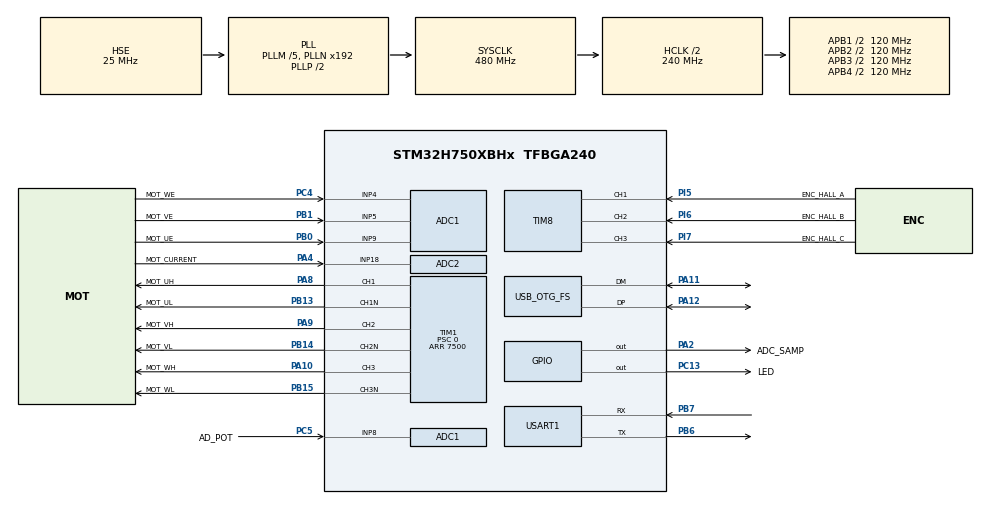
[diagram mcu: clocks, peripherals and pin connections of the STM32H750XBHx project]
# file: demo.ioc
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ADC1.Channel-2\#ChannelRegularConversion=ADC_CHANNEL_9
ADC1.Channel-3\#ChannelRegularConversion=ADC_CHANNEL_5
ADC1.Channel-4\#ChannelRegularConversion=ADC_CHANNEL_4
ADC1.Channel-5\#ChannelRegularConversion=ADC_CHANNEL_8
ADC1.ContinuousConvMode=ENABLE
ADC1.ConversionDataManagement=ADC_CONVERSIONDATA_DMA_CIRCULAR
ADC1.ExternalTrigConv=ADC_SOFTWARE_START
ADC1.NbrOfConversion=4
ADC1.NbrOfConversionFlag=1
ADC1.OffsetNumber-2\#ChannelRegularConversion=ADC_OFFSET_NONE
ADC1.OffsetNumber-3\#ChannelRegularConversion=ADC_OFFSET_NONE
ADC1.OffsetNumber-4\#ChannelRegularConversion=ADC_OFFSET_NONE
ADC1.OffsetNumber-5\#ChannelRegularConversion=ADC_OFFSET_NONE
ADC1.OffsetSignedSaturation-2\#ChannelRegularConversion=DISABLE
ADC1.OffsetSignedSaturation-3\#ChannelRegularConversion=DISABLE
ADC1.OffsetSignedSaturation-4\#ChannelRegularConversion=DISABLE
ADC1.OffsetSignedSaturation-5\#ChannelRegularConversion=DISABLE
ADC1.Overrun=ADC_OVR_DATA_OVERWRITTEN
ADC1.Rank-2\#ChannelRegularConversion=1
ADC1.Rank-3\#ChannelRegularConversion=2
ADC1.Rank-4\#ChannelRegularConversion=3
ADC1.Rank-5\#ChannelRegularConversion=4
ADC1.SamplingTime-2\#ChannelRegularConversion=ADC_SAMPLETIME_810CYCLES_5
ADC1.SamplingTime-3\#ChannelRegularConversion=ADC_SAMPLETIME_810CYCLES_5
ADC1.SamplingTime-4\#ChannelRegularConversion=ADC_SAMPLETIME_810CYCLES_5
ADC1.SamplingTime-5\#ChannelRegularConversion=ADC_SAMPLETIME_810CYCLES_5
ADC1.master=1
ADC2.Channel-7\#ChannelRegularConversion=ADC_CHANNEL_18
ADC2.Channel-8\#ChannelRegularConversion=ADC_CHANNEL_18
ADC2.ContinuousConvMode=DISABLE
ADC2.ConversionDataManagement=ADC_CONVERSIONDATA_DMA_CIRCULAR
ADC2.DiscontinuousConvMode=DISABLE
ADC2.EnableInjectedConversion=DISABLE
ADC2.EnableRegularConversion=ENABLE
ADC2.ExternalTrigConv=ADC_EXTERNALTRIG_T1_TRGO
ADC2.ExternalTrigConvEdge=ADC_EXTERNALTRIGCONVEDGE_FALLING
ADC2.NbrOfConversion=2
ADC2.NbrOfConversionFlag=1
ADC2.OffsetNumber-7\#ChannelRegularConversion=ADC_OFFSET_NONE
ADC2.OffsetNumber-8\#ChannelRegularConversion=ADC_OFFSET_NONE
ADC2.OffsetSignedSaturation-7\#ChannelRegularConversion=DISABLE
ADC2.OffsetSignedSaturation-8\#ChannelRegularConversion=DISABLE
ADC2.Overrun=ADC_OVR_DATA_OVERWRITTEN
ADC2.Rank-7\#ChannelRegularConversion=1
ADC2.Rank-8\#ChannelRegularConversion=2
ADC2.Resolution=ADC_RESOLUTION_16B
ADC2.SamplingTime-7\#ChannelRegularConversion=ADC_SAMPLETIME_1CYCLE_5
ADC2.SamplingTime-8\#ChannelRegularConversion=ADC_SAMPLETIME_1CYCLE_5
CORTEX_M7.AccessPermission_Spec=MPU_REGION_FULL_ACCESS
CORTEX_M7.CPU_DCache=Enabled
CORTEX_M7.CPU_ICache=Enabled
CORTEX_M7.DisableExec_Spec=MPU_INSTRUCTION_ACCESS_ENABLE
CORTEX_M7.default_mode_Activation=1
Dma.ADC1.0.Direction=DMA_PERIPH_TO_MEMORY
Dma.ADC1.0.EventEnable=DISABLE
Dma.ADC1.0.FIFOMode=DMA_FIFOMODE_DISABLE
Dma.ADC1.0.Instance=DMA1_Stream0
Dma.ADC1.0.MemDataAlignment=DMA_MDATAALIGN_HALFWORD
Dma.ADC1.0.MemInc=DMA_MINC_ENABLE
Dma.ADC1.0.Mode=DMA_CIRCULAR
Dma.ADC1.0.PeriphDataAlignment=DMA_PDATAALIGN_HALFWORD
Dma.ADC1.0.PeriphInc=DMA_PINC_DISABLE
Dma.ADC1.0.Polarity=HAL_DMAMUX_REQ_GEN_RISING
Dma.ADC1.0.Priority=DMA_PRIORITY_LOW
Dma.ADC1.0.RequestNumber=1
Dma.ADC1.0.SignalID=NONE
Dma.ADC1.0.SyncEnable=DISABLE
Dma.ADC1.0.SyncPolarity=HAL_DMAMUX_SYNC_NO_EVENT
Dma.ADC1.0.SyncRequestNumber=1
Dma.ADC1.0.SyncSignalID=NONE
Dma.ADC2.3.Direction=DMA_PERIPH_TO_MEMORY
Dma.ADC2.3.EventEnable=DISABLE
Dma.ADC2.3.FIFOMode=DMA_FIFOMODE_DISABLE
Dma.ADC2.3.Instance=DMA1_Stream1
Dma.ADC2.3.MemDataAlignment=DMA_MDATAALIGN_HALFWORD
Dma.ADC2.3.MemInc=DMA_MINC_ENABLE
Dma.ADC2.3.Mode=DMA_CIRCULAR
Dma.ADC2.3.PeriphDataAlignment=DMA_PDATAALIGN_HALFWORD
Dma.ADC2.3.PeriphInc=DMA_PINC_DISABLE
Dma.ADC2.3.Polarity=HAL_DMAMUX_REQ_GEN_RISING
Dma.ADC2.3.Priority=DMA_PRIORITY_LOW
Dma.ADC2.3.RequestNumber=1
Dma.ADC2.3.SignalID=NONE
Dma.ADC2.3.SyncEnable=DISABLE
Dma.ADC2.3.SyncPolarity=HAL_DMAMUX_SYNC_NO_EVENT
Dma.ADC2.3.SyncRequestNumber=1
Dma.ADC2.3.SyncSignalID=NONE
Dma.Request0=ADC1
Dma.Request1=USART1_RX
Dma.Request2=USART1_TX
Dma.Request3=ADC2
Dma.USART1_RX.1.Direction=DMA_PERIPH_TO_MEMORY
Dma.USART1_RX.1.EventEnable=DISABLE
Dma.USART1_RX.1.FIFOMode=DMA_FIFOMODE_DISABLE
Dma.USART1_RX.1.Instance=DMA1_Stream2
Dma.USART1_RX.1.MemDataAlignment=DMA_MDATAALIGN_BYTE
Dma.USART1_RX.1.MemInc=DMA_MINC_ENABLE
Dma.USART1_RX.1.Mode=DMA_NORMAL
Dma.USART1_RX.1.PeriphDataAlignment=DMA_PDATAALIGN_BYTE
Dma.USART1_RX.1.PeriphInc=DMA_PINC_DISABLE
Dma.USART1_RX.1.Polarity=HAL_DMAMUX_REQ_GEN_RISING
Dma.USART1_RX.1.Priority=DMA_PRIORITY_LOW
Dma.USART1_RX.1.RequestNumber=1
Dma.USART1_RX.1.SignalID=NONE
Dma.USART1_RX.1.SyncEnable=DISABLE
Dma.USART1_RX.1.SyncPolarity=HAL_DMAMUX_SYNC_NO_EVENT
Dma.USART1_RX.1.SyncRequestNumber=1
Dma.USART1_RX.1.SyncSignalID=NONE
Dma.USART1_TX.2.Direction=DMA_MEMORY_TO_PERIPH
Dma.USART1_TX.2.EventEnable=DISABLE
Dma.USART1_TX.2.FIFOMode=DMA_FIFOMODE_DISABLE
Dma.USART1_TX.2.Instance=DMA1_Stream3
Dma.USART1_TX.2.MemDataAlignment=DMA_MDATAALIGN_BYTE
Dma.USART1_TX.2.MemInc=DMA_MINC_ENABLE
Dma.USART1_TX.2.Mode=DMA_NORMAL
Dma.USART1_TX.2.PeriphDataAlignment=DMA_PDATAALIGN_BYTE
Dma.USART1_TX.2.PeriphInc=DMA_PINC_DISABLE
Dma.USART1_TX.2.Polarity=HAL_DMAMUX_REQ_GEN_RISING
Dma.USART1_TX.2.Priority=DMA_PRIORITY_LOW
Dma.USART1_TX.2.RequestNumber=1
Dma.USART1_TX.2.SignalID=NONE
Dma.USART1_TX.2.SyncEnable=DISABLE
Dma.USART1_TX.2.SyncPolarity=HAL_DMAMUX_SYNC_NO_EVENT
Dma.USART1_TX.2.SyncRequestNumber=1
Dma.USART1_TX.2.SyncSignalID=NONE
Mcu.Family=STM32H7
Mcu.Name=STM32H750XBHx
Mcu.Package=TFBGA240
Mcu.UserConstants=TIM_HALL,&htim8
NVIC.ADC_IRQn=true\:0\:0\:false\:false\:true\:true\:true\:true
NVIC.DMA1_Stream0_IRQn=true\:0\:0\:false\:false\:true\:false\:true\:true
NVIC.DMA1_Stream1_IRQn=true\:0\:0\:false\:false\:true\:false\:true\:true
NVIC.DMA1_Stream2_IRQn=true\:0\:0\:false\:false\:true\:false\:true\:true
NVIC.DMA1_Stream3_IRQn=true\:0\:0\:false\:false\:true\:false\:true\:true
NVIC.OTG_FS_IRQn=true\:0\:0\:false\:false\:true\:false\:true\:true
NVIC.PriorityGroup=NVIC_PRIORITYGROUP_4
NVIC.TIM1_UP_IRQn=true\:0\:0\:false\:false\:true\:true\:true\:true
NVIC.TIM8_UP_TIM13_IRQn=true\:0\:0\:false\:false\:true\:true\:true\:true
NVIC.USART1_IRQn=true\:0\:0\:false\:false\:true\:true\:true\:true
PA10.GPIO_Label=MOT_WH
PA10.GPIO_PuPd=GPIO_PULLUP
PA10.GPIO_Speed=GPIO_SPEED_FREQ_VERY_HIGH
PA10.Signal=S_TIM1_CH3
PA11.Mode=Device_Only
PA11.Signal=USB_OTG_FS_DM
PA12.Mode=Device_Only
PA12.Signal=USB_OTG_FS_DP
PA13\ (JTMS/SWDIO).Mode=Serial_Wire
PA13\ (JTMS/SWDIO).Signal=DEBUG_JTMS-SWDIO
PA14\ (JTCK/SWCLK).Mode=Serial_Wire
PA14\ (JTCK/SWCLK).Signal=DEBUG_JTCK-SWCLK
PA2.GPIO_Label=ADC_SAMP
PA2.GPIO_PuPd=GPIO_PULLUP
PA2.GPIO_Speed=GPIO_SPEED_FREQ_VERY_HIGH
PA2.Signal=GPIO_Output
PA4.GPIO_Label=MOT_CURRENT
PA4.Signal=ADCx_INP18
PA8.GPIO_Label=MOT_UH
PA8.GPIO_PuPd=GPIO_PULLUP
PA8.GPIO_Speed=GPIO_SPEED_FREQ_VERY_HIGH
PA8.Signal=S_TIM1_CH1
PA9.GPIO_Label=MOT_VH
PA9.GPIO_PuPd=GPIO_PULLUP
PA9.GPIO_Speed=GPIO_SPEED_FREQ_VERY_HIGH
PA9.Signal=S_TIM1_CH2
PB0.GPIO_Label=MOT_UE
PB0.Signal=ADCx_INP9
PB1.GPIO_Label=MOT_VE
PB1.Signal=ADCx_INP5
PB13.GPIO_Label=MOT_UL
PB13.GPIO_PuPd=GPIO_PULLUP
PB13.GPIO_Speed=GPIO_SPEED_FREQ_VERY_HIGH
PB13.Mode=PWM Generation1 CH1 CH1N
PB13.Signal=TIM1_CH1N
PB14.GPIO_Label=MOT_VL
PB14.GPIO_PuPd=GPIO_PULLUP
PB14.GPIO_Speed=GPIO_SPEED_FREQ_VERY_HIGH
PB14.Mode=PWM Generation2 CH2 CH2N
PB14.Signal=TIM1_CH2N
PB15.GPIO_Label=MOT_WL
PB15.GPIO_PuPd=GPIO_PULLUP
PB15.GPIO_Speed=GPIO_SPEED_FREQ_VERY_HIGH
PB15.Mode=PWM Generation3 CH3 CH3N
PB15.Signal=TIM1_CH3N
PB6.Mode=Asynchronous
PB6.Signal=USART1_TX
PB7.Mode=Asynchronous
PB7.Signal=USART1_RX
PC13.GPIO_Label=LED
PC13.GPIO_PuPd=GPIO_PULLUP
PC13.PinState=GPIO_PIN_SET
PC13.Signal=GPIO_Output
PC4.GPIO_Label=MOT_WE
PC4.Signal=ADCx_INP4
PC5.GPIO_Label=AD_POT
PC5.Signal=ADCx_INP8
PH0-OSC_IN\ (PH0).Mode=HSE-External-Oscillator
PH0-OSC_IN\ (PH0).Signal=RCC_OSC_IN
PH1-OSC_OUT\ (PH1).Mode=HSE-External-Oscillator
PH1-OSC_OUT\ (PH1).Signal=RCC_OSC_OUT
PI5.GPIO_Label=ENC_HALL_A
PI5.GPIO_ModeDefaultPP=GPIO_MODE_AF_OD
PI5.GPIO_PuPd=GPIO_PULLUP
PI5.GPIO_Speed=GPIO_SPEED_FREQ_VERY_HIGH
PI5.Signal=S_TIM8_CH1
PI6.GPIO_Label=ENC_HALL_B
PI6.GPIO_ModeDefaultPP=GPIO_MODE_AF_OD
PI6.GPIO_PuPd=GPIO_PULLUP
PI6.GPIO_Speed=GPIO_SPEED_FREQ_VERY_HIGH
PI6.Signal=S_TIM8_CH2
PI7.GPIO_Label=ENC_HALL_C
PI7.GPIO_ModeDefaultPP=GPIO_MODE_AF_OD
PI7.GPIO_PuPd=GPIO_PULLUP
PI7.GPIO_Speed=GPIO_SPEED_FREQ_VERY_HIGH
PI7.Signal=S_TIM8_CH3
ProjectManager.HeapSize=0x200
ProjectManager.StackSize=0x400
ProjectManager.TargetToolchain=MDK-ARM V5.32
RCC.ADCFreq_Value=100000000
RCC.APB1Freq_Value=120000000
RCC.APB2Freq_Value=120000000
RCC.APB3Freq_Value=120000000
RCC.APB4Freq_Value=120000000
RCC.CortexFreq_Value=480000000
RCC.D1PPRE=RCC_APB3_DIV2
RCC.D2PPRE1=RCC_APB1_DIV2
RCC.D2PPRE2=RCC_APB2_DIV2
RCC.D3PPRE=RCC_APB4_DIV2
RCC.DIVM1=5
RCC.DIVM2=20
RCC.DIVN1=192
RCC.DIVN2=160
RCC.DIVQ1=20
RCC.HCLKFreq_Value=240000000
RCC.HPRE=RCC_HCLK_DIV2
RCC.PLL2FRACN=0
RCC.PLL3FRACN=0
RCC.PLLFRACN=0
RCC.PLLSourceVirtual=RCC_PLLSOURCE_HSE
RCC.PWR_Regulator_Voltage_Scale=PWR_REGULATOR_VOLTAGE_SCALE0
RCC.SYSCLKFreq_VALUE=480000000
RCC.SYSCLKSource=RCC_SYSCLKSOURCE_PLLCLK
RCC.USBFreq_Value=48000000
SH.ADCx_INP18.0=ADC2_INP18,IN18-Single-Ended
SH.ADCx_INP4.0=ADC1_INP4,IN4-Single-Ended
SH.ADCx_INP5.0=ADC1_INP5,IN5-Single-Ended
SH.ADCx_INP8.0=ADC1_INP8,IN8-Single-Ended
SH.ADCx_INP9.0=ADC1_INP9,IN9-Single-Ended
SH.S_TIM1_CH1.0=TIM1_CH1,PWM Generation1 CH1 CH1N
SH.S_TIM1_CH2.0=TIM1_CH2,PWM Generation2 CH2 CH2N
SH.S_TIM1_CH3.0=TIM1_CH3,PWM Generation3 CH3 CH3N
SH.S_TIM8_CH1.0=TIM8_CH1,Xored_Inputs_Hall_Sensor_Interface
SH.S_TIM8_CH2.0=TIM8_CH2,Xored_Inputs_Hall_Sensor_Interface
SH.S_TIM8_CH3.0=TIM8_CH3,Xored_Inputs_Hall_Sensor_Interface
TIM1.AutoReloadPreload=TIM_AUTORELOAD_PRELOAD_ENABLE
TIM1.AutomaticOutput=TIM_AUTOMATICOUTPUT_ENABLE
TIM1.Channel-PWM\ Generation1\ CH1\ CH1N=TIM_CHANNEL_1
TIM1.Channel-PWM\ Generation2\ CH2\ CH2N=TIM_CHANNEL_2
TIM1.Channel-PWM\ Generation3\ CH3\ CH3N=TIM_CHANNEL_3
TIM1.Channel-PWM\ Generation4\ No\ Output=TIM_CHANNEL_4
TIM1.CounterMode=TIM_COUNTERMODE_CENTERALIGNED1
TIM1.DeadTime=3
TIM1.OC1Preload_PWM=ENABLE
TIM1.OC2Preload_PWM=ENABLE
TIM1.OC3Preload_PWM=ENABLE
TIM1.OC4Preload_PWM=ENABLE
TIM1.OCFastMode_PWM-PWM\ Generation1\ CH1\ CH1N=TIM_OCFAST_ENABLE
TIM1.OCFastMode_PWM-PWM\ Generation2\ CH2\ CH2N=TIM_OCFAST_ENABLE
TIM1.OCFastMode_PWM-PWM\ Generation3\ CH3\ CH3N=TIM_OCFAST_ENABLE
TIM1.OCNIdleState_1=TIM_OCNIDLESTATE_SET
TIM1.OCNIdleState_2=TIM_OCNIDLESTATE_SET
TIM1.OCNIdleState_3=TIM_OCNIDLESTATE_SET
TIM1.OCNPolarity_1=TIM_OCNPOLARITY_LOW
TIM1.OCNPolarity_2=TIM_OCNPOLARITY_LOW
TIM1.OCNPolarity_3=TIM_OCNPOLARITY_LOW
TIM1.OffStateIDLEMode=TIM_OSSI_ENABLE
TIM1.OffStateRunMode=TIM_OSSR_ENABLE
TIM1.Period=7500
TIM1.Prescaler=0
TIM1.Pulse-PWM\ Generation1\ CH1\ CH1N=0
TIM1.Pulse-PWM\ Generation2\ CH2\ CH2N=0
TIM1.Pulse-PWM\ Generation3\ CH3\ CH3N=0
TIM1.TIM_MasterOutputTrigger=TIM_TRGO_OC4REF
TIM1.TIM_MasterOutputTrigger2=TIM_TRGO2_RESET
TIM1.TIM_MasterSlaveMode=TIM_MASTERSLAVEMODE_DISABLE
TIM6.AutoReloadPreload=TIM_AUTORELOAD_PRELOAD_ENABLE
TIM6.Period=125-1
TIM6.Prescaler=120-1
TIM8.AutoReloadPreload=TIM_AUTORELOAD_PRELOAD_ENABLE
TIM8.IC1Filter=5
TIM8.TIM_MasterOutputTrigger2=TIM_TRGO2_UPDATE
USART1.VirtualMode-Asynchronous=VM_ASYNC
USB_DEVICE.CLASS_NAME_FS=CDC
USB_DEVICE.VirtualMode-CDC_FS=Cdc
USB_DEVICE.VirtualModeFS=Cdc_FS
USB_OTG_FS.VirtualMode=Device_Only
VP_TIM1_VS_no_output4.Mode=PWM Generation4 No Output
VP_TIM6_VS_ClockSourceINT.Mode=Enable_Timer
VP_USB_DEVICE_VS_USB_DEVICE_CDC_FS.Mode=CDC_FS
board=custom

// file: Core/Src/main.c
/* USER CODE BEGIN Header */
/**
 ******************************************************************************
 * @file           : main.c
 * @brief          : Main program body
 ******************************************************************************
 * @attention
 *
 * Copyright (c) 2023 STMicroelectronics.
 * All rights reserved.
 *
 * This software is licensed under terms that can be found in the LICENSE file
 * in the root directory of this software component.
 * If no LICENSE file comes with this software, it is provided AS-IS.
 *
 ******************************************************************************
 */
/* USER CODE END Header */
#include "main.h"
#include "adc.h"
#include "dma.h"
#include "tim.h"
#include "usart.h"
#include "usb_device.h"
#include "gpio.h"

/* USER CODE BEGIN Includes */
#include "usbd_cdc_if.h"

#include "bsp.h"

#include "motdrv/enc/hall.h"
#include "motdrv/foc/motdrv.h"

#include "mb.h"
#include "mbport.h"

/* USER CODE END Includes */

void        SystemClock_Config(void);
void        PeriphCommonClock_Config(void);
static void MPU_Config(void);
/* USER CODE BEGIN PFP */
void        SpeedCalc(void);

/* USER CODE END PFP */

/* USER CODE BEGIN 0 */

#define HVBUS_COEFF   (40.2157f)  // 单位 V, 计算公式 (5.1k+200k) / (5.1k)
#define CURRENT_COEFF (2.32558f)  // 单位 A, 放大倍数 A = (33K/10K+1), 采样电阻 Rshunt = 100mR, 计算公式 1/4.3/0.1

extern void Modbus_StartReceive(void);

ALIGN_32BYTES(uint16_t ADC1_Conv[4]);
ALIGN_32BYTES(uint16_t ADC2_Conv[2]);

#define AD_MOT_UE    ADC1_Conv[0]
#define AD_MOT_VE    ADC1_Conv[1]
#define AD_MOT_WE    ADC1_Conv[2]

#define AD_MOT_CUR_U ADC2_Conv[0]  // current feedback
#define AD_MOT_CUR_V ADC2_Conv[1]  // current feedback

#define AD_POT       ADC1_Conv[3]

// https://www.zhihu.com/question/600128914
// Speed_ElecAng_Rad =  PolePair * 2 * PI * Speed_ElecAng_RPM / 60

#define I_COEFF    1 / 65535.f * 3300 / 4.3 / 0.1        // mA, 0.1R
#define VBUS_COEFF 1 / 65535.f * 33 / 5.1 * (5.1 + 200)  // 0.1V

void cur_rs2()
{
    ParaTbl.s16CurPhAFb = ADC1_Conv[0];
    ParaTbl.s16CurPhBFb = ADC1_Conv[1];
}

void cur_rs()
{
    SCB_InvalidateDCache_by_Addr((uint32_t*)&ADC2_Conv[0], ARRAY_SIZE(ADC2_Conv));

    uint16_t Iz[2] = {
        ((float32_t)AD_MOT_CUR_U / 65535 * 3300 - 1000) / 4 / 0.1,  // mA
        ((float32_t)AD_MOT_CUR_V / 65535 * 3300 - 1000) / 4 / 0.1,  // mA
    };

    void current_reconstruct(uint16_t Iz[2]);
    current_reconstruct(Iz);  // 电流重构
}

BEMF_Speed_Struct bemf = {
    .u8BEMFPoleNumber               = 2,
    .u16BEMF1msCounter              = 0,
    .u16BEMFSpeed                   = 0,
    .u16BEMFPhaseABMiddlePoint12bit = 0,
    .u8BEMFDirectionFlag            = BEMF_DIR_STANDSTILL,
    .u16BEMFDetectionTime           = 0,
    .bBEMFResultValidFlag           = 0,
    .bBEMFMotorIsRotatingFlag       = 0,
    .u16BEMFComparatorHystersis     = ((BEMF_COMPARATOR_HYSTERESIS * 4) / 5),
    .u16BEMFStandstillThresholdVolt = ((BEMF_STANDSTILL_THRESHOLD_VOLTAGE * 4) / 5),
};

/* USER CODE END 0 */

int main(void)
{

    /* MPU Configuration--------------------------------------------------------*/
    MPU_Config();
    /* Enable the CPU Cache */

    /* Enable I-Cache---------------------------------------------------------*/
    SCB_EnableICache();

    /* Enable D-Cache---------------------------------------------------------*/
    SCB_EnableDCache();

    /* MCU Configuration--------------------------------------------------------*/

    /* Reset of all peripherals, Initializes the Flash interface and the Systick. */
    HAL_Init();

    /* Configure the system clock */
    SystemClock_Config();

    /* Configure the peripherals common clocks */
    PeriphCommonClock_Config();

    /* Initialize all configured peripherals */
    MX_GPIO_Init();
    MX_DMA_Init();
    MX_ADC1_Init();
    MX_ADC2_Init();
    MX_TIM1_Init();
    MX_TIM6_Init();
    MX_TIM8_Init();
    MX_USART1_UART_Init();
    MX_USB_DEVICE_Init();
    /* USER CODE BEGIN 2 */

    DelayInit();

    const uint8_t ucSlaveID[] = {0xAA, 0xBB, 0xCC};
    eMBInit(MB_RTU, 1, 1, 115200, MB_PAR_EVEN);
    eMBSetSlaveID(0x34, true, ucSlaveID, ARRAY_SIZE(ucSlaveID));
    eMBEnable();
    Modbus_StartReceive();

    HAL_ADC_Start_DMA(&hadc1, (uint32_t*)&ADC1_Conv[0], ARRAY_SIZE(ADC1_Conv));
    HAL_ADC_Start_DMA(&hadc2, (uint32_t*)&ADC2_Conv[0], ARRAY_SIZE(ADC2_Conv));

    HallEnc_Init(&HallEnc);
    HAL_TIM_Base_Start_IT(TIM_HALL);

    ParaTbl_Init();

    // DbgTbl.u16Buf[0] = 2;
    // DbgTbl.u16Buf[1] = 3;
    // DbgTbl.u16Buf[2] = 4;
    // DbgTbl.u16Buf[3] = 5;
    // DbgTbl.u16Buf[4] = 6;
    // DbgTbl.u16Buf[5] = 1;

    // ParaTbl.u16FocMode = FOC_MODE_MCU;

    ParaTbl.u16ElecAngSrc = ELEC_ANG_SRC_HALL;  // closeloop
    // ParaTbl.u16ElecAngSrc = ELEC_ANG_SRC_NONE;  // openloop

    ParaTbl.u16PwmDutyMax   = htim1.Init.Period + 1;
    ParaTbl.u16MotPolePairs = 2;
    ParaTbl.u16Umdc         = (int)11.2;
    ParaTbl.u16CarryFreq    = 16000;

    if (ParaTbl.u16ElecAngSrc == ELEC_ANG_SRC_NONE)  // zero inject
    {
        // ParaTbl.s16VqRef       = 32000;
        // ParaTbl.s16VdRef       = 0;
        // ParaTbl.u16ElecAngInc  = 24;
        // ParaTbl.u16WaitTimeInc = 8;

        ParaTbl.s16VqRef       = 8000;
        ParaTbl.s16VdRef       = 0;
        ParaTbl.u16ElecAngInc  = 4;
        ParaTbl.u16WaitTimeInc = 40;
    }
    else  // svpwm7
    {
        ParaTbl.u16ElecOffset = HALL_ANGLE_30 * 2;
        ParaTbl.s16VqRef      = 16000;
        ParaTbl.s16VdRef      = 0;
    }

    ParaTbl.u16RunState = 1;

    // Hall as Inc
    ParaTbl.u32EncRes    = 6 * ParaTbl.u16MotPolePairs;
    ParaTbl.s16SpdDigRef = 100;

    /* USER CODE END 2 */

    /* Infinite loop */
    /* USER CODE BEGIN WHILE */

    while (1)
    {
        eMBPoll();

        //-------------------------------------------------

        static uint32_t tBlink = 0;

        if (DelayNonBlockMS(tBlink, 500))
        {
            tBlink = DelayNonGetTick();
            LED_TGL();
        }

        //-------------------------------------------------

        static uint32_t tAdTask = 0;

        if (DelayNonBlockMS(tAdTask, 1))
        {
            // extern volatile int n;

            // usb_printf("%d,%d,%d,%d,%d\n", ParaTbl.s16CurPhAFb, ParaTbl.s16CurPhBFb, ParaTbl.s16CurPhCFb, AD_MOT_CUR_U, AD_MOT_CUR_V);
            // usb_printf("%d,%d,%d,%d,%d,%d,%d,%d\n", ParaTbl.s16CurPhAFb, ParaTbl.s16CurPhBFb, ParaTbl.s16CurPhCFb, ParaTbl.s16IdFb, ParaTbl.s16IqFb, HallEnc.HallState, ParaTbl.u16Sector, DbgTbl.u16Buf[0]);

            // usb_printf("%d,%d,%d,%d,%d,%d\n",
            //            (s16)DbgTbl.u16Buf[0],
            //            (s16)DbgTbl.u16Buf[1],
            //            (s16)DbgTbl.u16Buf[2],
            //            (s16)DbgTbl.u16Buf[3],
            //            (s16)DbgTbl.u16Buf[4],
            //            (s16)DbgTbl.u16Buf[5]);

            // https://www.zhihu.com/question/606311981

            BEMF_Speed_Detect(&bemf, AD_MOT_UE >> 4, AD_MOT_VE >> 4);
            // usb_printf("%d,%f,%f\n", bemf.u16BEMFSpeed, AD_MOT_UE / 65535.f * 3.3, AD_MOT_VE / 65535.f * 3.3);

            // 反电动势与磁链关系 https://blog.csdn.net/qq_38190041/article/details/110713520
            // https://blog.csdn.net/qq_38190041/article/details/110848202

            // matlab 反电动势仿真 https://blog.csdn.net/weixin_42362056/article/details/116766351
            // Kt=9.55Ke, 9.55=60/2/pi

            float32_t e = AD_MOT_UE / 65535.f * 3.3;
            usb_printf("%f,%f,%f\n", e, 30 * e / 3.1415926 / ParaTbl.s16SpdFb / ParaTbl.u16MotPolePairs, ParaTbl.u16MotPolePairs * ParaTbl.s16SpdFb * 0.028595 * 2 * 3.14 / 60);
            // e_max = 0.627773, wb = 0.028595

            // usb_printf("%d,%d,%d,%d\n", AD_MOT_UE, AD_MOT_VE, AD_MOT_WE, HallEnc.HallState);

            ParaTbl.s16AiU = AD_POT * 3300 / 65535 + ParaTbl.s16AiBias;

            tAdTask = DelayNonGetTick();
        }

        SCB_InvalidateDCache_by_Addr((uint32_t*)&ADC1_Conv[0], ARRAY_SIZE(ADC1_Conv));

        //-------------------------------------------------

        SpeedCalc();

        static u16 u16RunStatePre = 0;

        if (u16RunStatePre != ParaTbl.u16RunState)
        {
            u16RunStatePre = ParaTbl.u16RunState;
            ParaTbl.u16RunState ? PWM_Start() : PWM_Stop();
        }

        //-------------------------------------------------

        ifoc();

        if (ParaTbl.u16RunState)
        {
            if (ParaTbl.u16ElecAngSrc == ELEC_ANG_SRC_NONE)
            {
                ParaTbl.u16ElecAngRef += ParaTbl.u16ElecAngInc;

                // if (ParaTbl.u16ElecAngRef == 0)
                // {
                //     DbgTbl.u16Buf[0]++;
                // }

                //  usb_printf("%d,%d\n", ParaTbl.u16ElecAngRef, ParaTbl.u16HallAngFb);  // 霍尔偏置 ParaTbl.u16ElecOffset
            }
            else if (ParaTbl.u16ElecAngSrc == ELEC_ANG_SRC_HALL)
            {
                ParaTbl.u16ElecAngRef = ((u32)ParaTbl.u16HallAngFb + (u32)ParaTbl.u16ElecOffset) % UINT16_MAX;
            }

            spdloop();
            curloop();
            ofoc();

            if (ParaTbl.u16ElecAngSrc == ELEC_ANG_SRC_NONE)
            {
                DelayBlockUS(ParaTbl.u16WaitTimeInc);
            }
        }

        /* USER CODE END WHILE */

    }
}

void SystemClock_Config(void)
{
    RCC_OscInitTypeDef RCC_OscInitStruct = {0};
    RCC_ClkInitTypeDef RCC_ClkInitStruct = {0};

    /** Supply configuration update enable
     */
    HAL_PWREx_ConfigSupply(PWR_LDO_SUPPLY);

    /** Configure the main internal regulator output voltage
     */
    __HAL_PWR_VOLTAGESCALING_CONFIG(PWR_REGULATOR_VOLTAGE_SCALE1);

    while (!__HAL_PWR_GET_FLAG(PWR_FLAG_VOSRDY)) {}

    __HAL_RCC_SYSCFG_CLK_ENABLE();
    __HAL_PWR_VOLTAGESCALING_CONFIG(PWR_REGULATOR_VOLTAGE_SCALE0);

    while (!__HAL_PWR_GET_FLAG(PWR_FLAG_VOSRDY)) {}

    /** Initializes the RCC Oscillators according to the specified parameters
     * in the RCC_OscInitTypeDef structure.
     */
    RCC_OscInitStruct.OscillatorType = RCC_OSCILLATORTYPE_HSE;
    RCC_OscInitStruct.HSEState       = RCC_HSE_ON;
    RCC_OscInitStruct.PLL.PLLState   = RCC_PLL_ON;
    RCC_OscInitStruct.PLL.PLLSource  = RCC_PLLSOURCE_HSE;
    RCC_OscInitStruct.PLL.PLLM       = 5;
    RCC_OscInitStruct.PLL.PLLN       = 192;
    RCC_OscInitStruct.PLL.PLLP       = 2;
    RCC_OscInitStruct.PLL.PLLQ       = 20;
    RCC_OscInitStruct.PLL.PLLR       = 2;
    RCC_OscInitStruct.PLL.PLLRGE     = RCC_PLL1VCIRANGE_2;
    RCC_OscInitStruct.PLL.PLLVCOSEL  = RCC_PLL1VCOWIDE;
    RCC_OscInitStruct.PLL.PLLFRACN   = 0;
    if (HAL_RCC_OscConfig(&RCC_OscInitStruct) != HAL_OK)
    {
        Error_Handler();
    }

    /** Initializes the CPU, AHB and APB buses clocks
     */
    RCC_ClkInitStruct.ClockType      = RCC_CLOCKTYPE_HCLK | RCC_CLOCKTYPE_SYSCLK | RCC_CLOCKTYPE_PCLK1 | RCC_CLOCKTYPE_PCLK2 | RCC_CLOCKTYPE_D3PCLK1 | RCC_CLOCKTYPE_D1PCLK1;
    RCC_ClkInitStruct.SYSCLKSource   = RCC_SYSCLKSOURCE_PLLCLK;
    RCC_ClkInitStruct.SYSCLKDivider  = RCC_SYSCLK_DIV1;
    RCC_ClkInitStruct.AHBCLKDivider  = RCC_HCLK_DIV2;
    RCC_ClkInitStruct.APB3CLKDivider = RCC_APB3_DIV2;
    RCC_ClkInitStruct.APB1CLKDivider = RCC_APB1_DIV2;
    RCC_ClkInitStruct.APB2CLKDivider = RCC_APB2_DIV2;
    RCC_ClkInitStruct.APB4CLKDivider = RCC_APB4_DIV2;

    if (HAL_RCC_ClockConfig(&RCC_ClkInitStruct, FLASH_LATENCY_4) != HAL_OK)
    {
        Error_Handler();
    }
}

void PeriphCommonClock_Config(void)
{
    RCC_PeriphCLKInitTypeDef PeriphClkInitStruct = {0};

    /** Initializes the peripherals clock
     */
    PeriphClkInitStruct.PeriphClockSelection = RCC_PERIPHCLK_ADC;
    PeriphClkInitStruct.PLL2.PLL2M           = 20;
    PeriphClkInitStruct.PLL2.PLL2N           = 160;
    PeriphClkInitStruct.PLL2.PLL2P           = 2;
    PeriphClkInitStruct.PLL2.PLL2Q           = 2;
    PeriphClkInitStruct.PLL2.PLL2R           = 2;
    PeriphClkInitStruct.PLL2.PLL2RGE         = RCC_PLL2VCIRANGE_0;
    PeriphClkInitStruct.PLL2.PLL2VCOSEL      = RCC_PLL2VCOWIDE;
    PeriphClkInitStruct.PLL2.PLL2FRACN       = 0;
    PeriphClkInitStruct.AdcClockSelection    = RCC_ADCCLKSOURCE_PLL2;
    if (HAL_RCCEx_PeriphCLKConfig(&PeriphClkInitStruct) != HAL_OK)
    {
        Error_Handler();
    }
}

/* USER CODE BEGIN 4 */

// placed within the function will be optimized, even if volatile、__USED、__attribute__((optimize("O0"))) is added
static tick_t tSpdCalc = 0;

void SpeedCalc(void)
{
#if CONFIG_ENCODER_TYPE == ENC_HALL

    ParaTbl.u16HallAngFb = HallEnc.ElecAngle;

    // T 测�?�法：脉冲间�? (适用于低�?)

    if (DelayNonBlockMS(tSpdCalc, 1000))  // M 测�?�法: �?定时间内脉冲�? (适用于高�?)
    {
        // ParaTbl.s32EncPos += HallEnc.EdgeCount;
        // ParaTbl.u32EncTurns += ParaTbl.u32EncRes / ParaTbl.u32EncRes;
        // ParaTbl.s32EncPos %= ParaTbl.u32EncRes;

        ParaTbl.s16SpdFb  = 60.f * HallEnc.EdgeCount / ParaTbl.u16MotPolePairs / 6;
        HallEnc.EdgeCount = 0;

        tSpdCalc = DelayNonGetTick();
    }

#endif
}

void EncCycle()
{
    if (ParaTbl.u16EncTurnClr != 0)
    {
        ParaTbl.u16EncTurnClr = 0;
        ParaTbl.u32EncTurns   = 0;
    }
}

/* USER CODE END 4 */

/* MPU Configuration */

void MPU_Config(void)
{
    MPU_Region_InitTypeDef MPU_InitStruct = {0};

    /* Disables the MPU */
    HAL_MPU_Disable();

    /** Initializes and configures the Region and the memory to be protected
     */
    MPU_InitStruct.Enable           = MPU_REGION_ENABLE;
    MPU_InitStruct.Number           = MPU_REGION_NUMBER0;
    MPU_InitStruct.BaseAddress      = 0x0;
    MPU_InitStruct.Size             = MPU_REGION_SIZE_4GB;
    MPU_InitStruct.SubRegionDisable = 0x87;
    MPU_InitStruct.TypeExtField     = MPU_TEX_LEVEL0;
    MPU_InitStruct.AccessPermission = MPU_REGION_FULL_ACCESS;
    MPU_InitStruct.DisableExec      = MPU_INSTRUCTION_ACCESS_ENABLE;
    MPU_InitStruct.IsShareable      = MPU_ACCESS_SHAREABLE;
    MPU_InitStruct.IsCacheable      = MPU_ACCESS_NOT_CACHEABLE;
    MPU_InitStruct.IsBufferable     = MPU_ACCESS_NOT_BUFFERABLE;

    HAL_MPU_ConfigRegion(&MPU_InitStruct);
    /* Enables the MPU */
    HAL_MPU_Enable(MPU_PRIVILEGED_DEFAULT);
}

void Error_Handler(void)
{
    __disable_irq();
    while (1)
    {
    }
}
